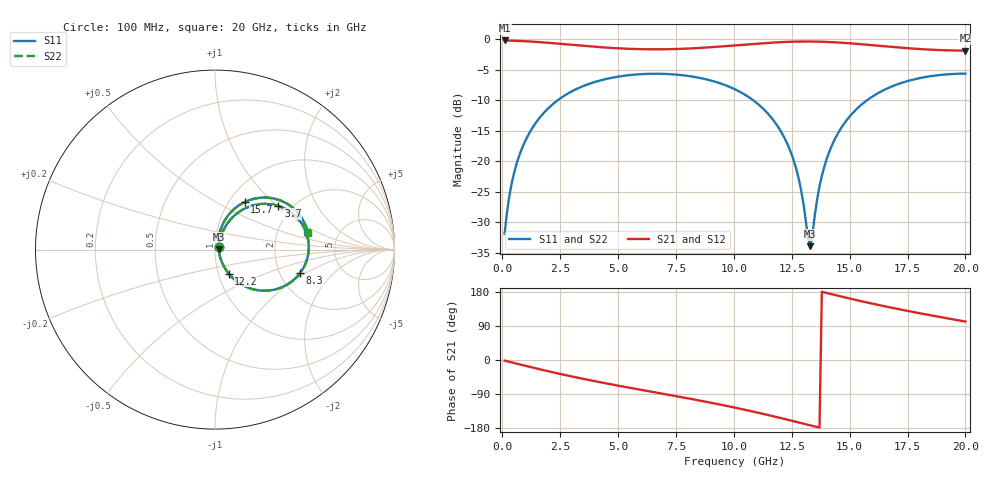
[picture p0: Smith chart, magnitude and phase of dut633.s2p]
! Touchstone file exported from HFSS 2026.1.0
!  File:  C:/ffzhzh/LocalFiles/Ansys_Project_Files/temp_train_TSV_RDL_633_1783126356_37876.aedt
!  Generated:  09:02:03 AM Jul  4, 2026
!  Design:  TSV_RDL
!  Project:  temp_train_TSV_RDL_633_1783126356_37876
! Variables:
!  h_bsmrdl = 4.15um
!  h_ox = 20um
!  h_rdl = 5um
!  h_sub = 87.7um
!  h_tmrdl = 2.34um
!  h_tsv = 87.7um
!  h_via = 3um
!  l_bsmrdl = 876.05um
!  l_sub = 4174.41um
!  l_tmrdl = 254.69um
!  m_sub = 200um
!  pitch = 59.47um
!  r_tsv = 13.71um
!  s_tmrdl = 10um
!  w_bsmrdl = 28.15um
!  w_sub = 500um
!  w_tmrdl = 14.35um
!  x_tsv_center1 = 261.865um
!  x_tsv_center2 = 1166.065um
!  x_tsv_center3 = 1435.105um
!  x_tsv_center4 = 2339.305um
!  x_tsv_center5 = 2608.345um
!  x_tsv_center6 = 3512.545um
# GHz S MA R 50.000000
! Terminal data exported
! Port[1] = TM_RDL1_1_T1
! Port[2] = TM_RDL5_1_T1
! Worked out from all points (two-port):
!   200 points, 100 MHz to 20 GHz, reference 50 ohm
!   highest |S21| = -0.17 dB at 100 MHz (marker M1); lowest = -1.8 dB at 20 GHz (marker M2)
!   |S21| within 3 dB of the highest: start of sweep to end of sweep
!   lowest |S11| = -33.9 dB at 13.3 GHz (marker M3), VSWR 1.04, Z = 52 + j0.419 ohm
!   |S11| at or under -10 dB: start of sweep to 2.388 GHz; 10.84 GHz to 15.74 GHz (4.902 GHz wide, 36.9 % of centre)
!   |S22| runs from -33.9 to -5.6 dB; largest |S21 - S12| = 1.6e-14
!   S11 on the Smith chart (normalised r, x): 100 MHz: 1.04, +0.03; 3.7 GHz: 1.71, +1.02; 8.3 GHz: 2.59, -0.89; 12.2 GHz: 1.12, -0.31; 15.7 GHz: 1.18, +0.69; 20 GHz: 2.97, +0.78
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0.1  0.02549 37.4  0.9801 -1.6  0.9801 -1.6  0.02549 37.4
! Gamma 0 0 0 0
! Port Impedance 50 0 50 0
0.3  0.05137 60.7  0.9775 -4.8  0.9775 -4.8  0.05137 60.7
0.5  0.07917 65.6  0.9745 -7.8  0.9745 -7.8  0.07917 65.6
1.1  0.1615 64.6  0.9631 -16.9  0.9631 -16.9  0.1615 64.6
2.1  0.2852 53.8  0.9339 -31.3  0.9339 -31.3  0.2853 53.8
3.5  0.4145 36.9  0.8854 -49.8  0.8854 -49.8  0.4146 36.9
3.7  0.4286 34.6  0.8789 -52.3  0.8789 -52.3  0.4286 34.6
6.8  0.5224 0.8  0.8293 -87.6  0.8293 -87.6  0.5224 0.8
8.3  0.4923 -15.3  0.8461 -104.4  0.8461 -104.4  0.4923 -15.3
10.1  0.3855 -36.0  0.8946 -126.3  0.8946 -126.3  0.3855 -36.0
11.3  0.2663 -50.6  0.9318 -142.7  0.9318 -142.7  0.2663 -50.6
12.2  0.1539 -60.2  0.9526 -155.8  0.9526 -155.8  0.1538 -60.2
12.8  0.07235 -60.4  0.9597 -164.8  0.9597 -164.8  0.07231 -60.4
13.2  0.0236 -24.2  0.9607 -170.9  0.9607 -170.9  0.02362 -24.0
13.3  0.02016 11.5  0.9604 -172.4  0.9604 -172.4  0.02023 11.6
13.4  0.02582 43.6  0.96 -173.9  0.96 -173.9  0.02591 43.6
13.7  0.06237 71.3  0.9575 -178.5  0.9575 -178.5  0.06245 71.3
14.2  0.1303 73.9  0.9497 174.0  0.9497 174.0  0.1304 73.9
14.8  0.2085 68.6  0.9351 165.1  0.9351 165.1  0.2086 68.6
15.7  0.3117 58.1  0.9064 152.5  0.9064 152.5  0.3118 58.1
16.7  0.4019 46.2  0.8718 139.4  0.8718 139.4  0.402 46.2
20  0.524 10.5  0.809 101.4  0.809 101.4  0.5241 10.4
